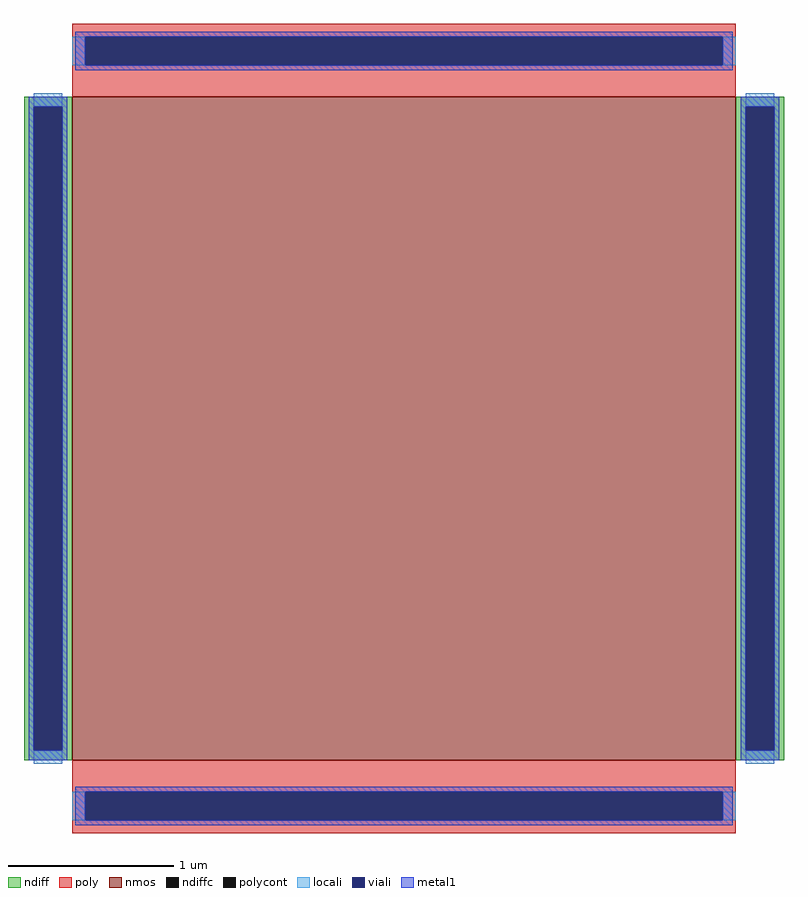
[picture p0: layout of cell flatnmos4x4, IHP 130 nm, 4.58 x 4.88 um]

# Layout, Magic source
magic
tech ihp-sg13cmos5l
<< nmos >>
rect 29 44 429 444
<< ndiff >>
rect 0 438 29 444
rect 0 50 6 438
rect 23 50 29 438
rect 0 44 29 50
rect 429 438 458 444
rect 429 50 435 438
rect 452 50 458 438
rect 429 44 458 50
<< ndiffc >>
rect 6 50 23 438
rect 435 50 452 438
<< poly >>
rect 29 480 429 488
rect 29 463 37 480
rect 421 463 429 480
rect 29 444 429 463
rect 29 25 429 44
rect 29 8 37 25
rect 421 8 429 25
rect 29 0 429 8
<< polycont >>
rect 37 463 421 480
rect 37 8 421 25
<< locali >>
rect 29 463 37 480
rect 421 463 429 480
rect 6 438 23 446
rect 6 42 23 50
rect 435 438 452 446
rect 435 42 452 50
rect 29 8 37 25
rect 421 8 429 25
<< viali >>
rect 37 463 421 480
rect 6 50 23 438
rect 435 50 452 438
rect 37 8 421 25
<< metal1 >>
rect 31 480 427 483
rect 31 463 37 480
rect 421 463 427 480
rect 31 460 427 463
rect 3 438 26 444
rect 3 50 6 438
rect 23 50 26 438
rect 3 44 26 50
rect 432 438 455 444
rect 432 50 435 438
rect 452 50 455 438
rect 432 44 455 50
rect 31 25 427 28
rect 31 8 37 25
rect 421 8 427 25
rect 31 5 427 8
<< end >>
